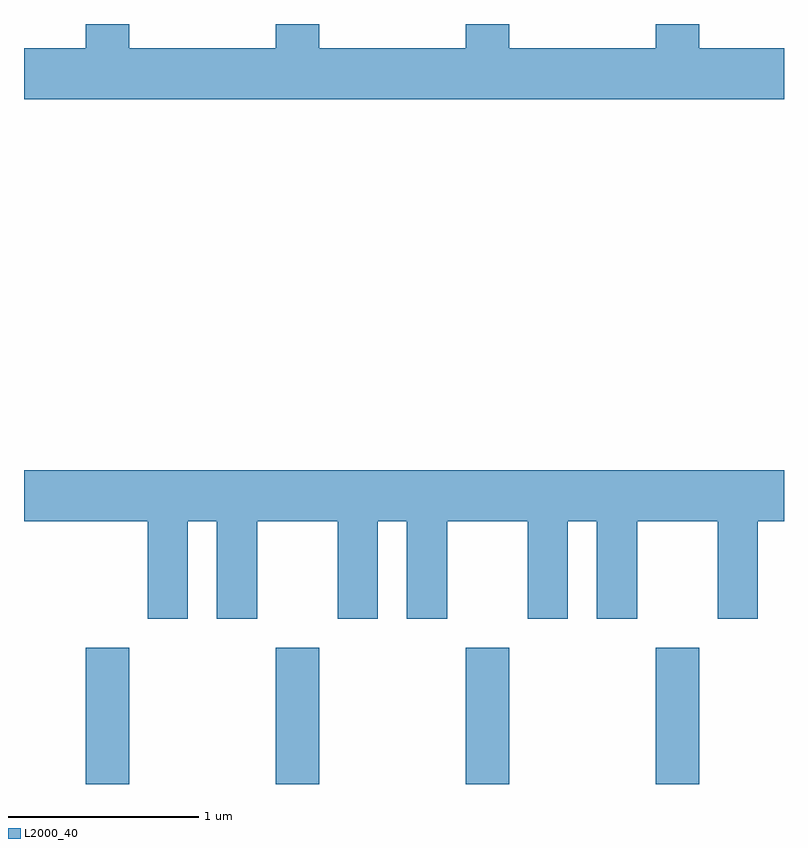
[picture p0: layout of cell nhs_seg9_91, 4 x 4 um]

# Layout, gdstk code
import gdstk
lib = gdstk.Library(unit=1e-6, precision=1e-09)
def R(c, l, rs):  # rectangles x0, y0, x1, y1
    for r in rs: c.add(gdstk.rectangle(r[:2], r[2:], *l))
def A(c, l, x, y, w, h, nx, ny, dx, dy):  # array of equal rectangles
    R(c, l, [(x+i*dx, y+j*dy, x+i*dx+w, y+j*dy+h) for i in range(nx) for j in range(ny)])
def P(c, l, *ps):  # polygons
    for p in ps: c.add(gdstk.Polygon(p, *l))
L2000_40 = (2000, 40)

nhs_seg9_91 = lib.new_cell('nhs_seg9_91')
A(nhs_seg9_91, L2000_40, 187.936, 1990.432, 0.228, 0.717, 4, 1, 1, 0)
P(nhs_seg9_91, L2000_40, [(191.611,1994.304),(191.164,1994.304),(191.164,1994.432),(190.936,1994.432),(190.936,1994.304),(190.164,1994.304),(190.164,1994.432),(189.936,1994.432),(189.936,1994.304),(189.164,1994.304),(189.164,1994.432),(188.936,1994.432),(188.936,1994.304),(188.164,1994.304),(188.164,1994.432),(187.936,1994.432),(187.936,1994.304),(187.611,1994.304),(187.611,1994.036),(191.611,1994.036)],
  [(188.474,1991.816),(188.626,1991.816),(188.626,1991.301),(188.839,1991.301),(188.839,1991.816),(189.261,1991.816),(189.261,1991.301),(189.474,1991.301),(189.474,1991.816),(189.626,1991.816),(189.626,1991.301),(189.839,1991.301),(189.839,1991.816),(190.261,1991.816),(190.261,1991.301),(190.474,1991.301),(190.474,1991.816),(190.626,1991.816),(190.626,1991.301),(190.839,1991.301),(190.839,1991.816),(191.261,1991.816),(191.261,1991.301),(191.474,1991.301),(191.474,1991.816),(191.611,1991.816),(191.611,1992.084),(187.611,1992.084),(187.611,1991.816),(188.261,1991.816),(188.261,1991.301),(188.474,1991.301)])

lib.write_gds('nhs_seg9_91.gds')
